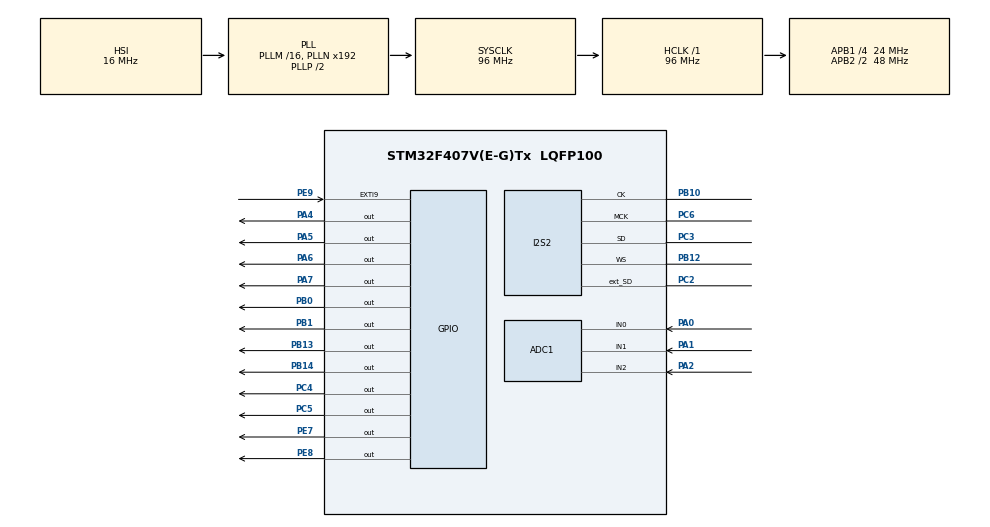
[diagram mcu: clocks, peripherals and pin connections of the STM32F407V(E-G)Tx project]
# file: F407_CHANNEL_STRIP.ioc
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ADC1.Channel-0\#ChannelRegularConversion=ADC_CHANNEL_0
ADC1.Channel-1\#ChannelRegularConversion=ADC_CHANNEL_1
ADC1.Channel-2\#ChannelRegularConversion=ADC_CHANNEL_2
ADC1.ContinuousConvMode=DISABLE
ADC1.DMAContinuousRequests=ENABLE
ADC1.EOCSelection=ADC_EOC_SEQ_CONV
ADC1.ExternalTrigConv=ADC_EXTERNALTRIGCONV_T2_TRGO
ADC1.NbrOfConversion=3
ADC1.NbrOfConversionFlag=1
ADC1.Rank-0\#ChannelRegularConversion=1
ADC1.Rank-1\#ChannelRegularConversion=2
ADC1.Rank-2\#ChannelRegularConversion=3
ADC1.SamplingTime-0\#ChannelRegularConversion=ADC_SAMPLETIME_144CYCLES
ADC1.SamplingTime-1\#ChannelRegularConversion=ADC_SAMPLETIME_144CYCLES
ADC1.SamplingTime-2\#ChannelRegularConversion=ADC_SAMPLETIME_144CYCLES
ADC1.ScanConvMode=ENABLE
ADC1.master=1
Dma.ADC1.2.Direction=DMA_PERIPH_TO_MEMORY
Dma.ADC1.2.FIFOMode=DMA_FIFOMODE_DISABLE
Dma.ADC1.2.Instance=DMA2_Stream0
Dma.ADC1.2.MemDataAlignment=DMA_MDATAALIGN_HALFWORD
Dma.ADC1.2.MemInc=DMA_MINC_ENABLE
Dma.ADC1.2.Mode=DMA_CIRCULAR
Dma.ADC1.2.PeriphDataAlignment=DMA_PDATAALIGN_HALFWORD
Dma.ADC1.2.PeriphInc=DMA_PINC_DISABLE
Dma.ADC1.2.Priority=DMA_PRIORITY_LOW
Dma.I2S2_EXT_TX.1.Direction=DMA_MEMORY_TO_PERIPH
Dma.I2S2_EXT_TX.1.FIFOMode=DMA_FIFOMODE_DISABLE
Dma.I2S2_EXT_TX.1.Instance=DMA1_Stream4
Dma.I2S2_EXT_TX.1.MemDataAlignment=DMA_MDATAALIGN_HALFWORD
Dma.I2S2_EXT_TX.1.MemInc=DMA_MINC_ENABLE
Dma.I2S2_EXT_TX.1.Mode=DMA_CIRCULAR
Dma.I2S2_EXT_TX.1.PeriphDataAlignment=DMA_PDATAALIGN_HALFWORD
Dma.I2S2_EXT_TX.1.PeriphInc=DMA_PINC_DISABLE
Dma.I2S2_EXT_TX.1.Priority=DMA_PRIORITY_LOW
Dma.Request0=SPI2_RX
Dma.Request1=I2S2_EXT_TX
Dma.Request2=ADC1
Dma.SPI2_RX.0.Direction=DMA_PERIPH_TO_MEMORY
Dma.SPI2_RX.0.FIFOMode=DMA_FIFOMODE_DISABLE
Dma.SPI2_RX.0.Instance=DMA1_Stream3
Dma.SPI2_RX.0.MemDataAlignment=DMA_MDATAALIGN_HALFWORD
Dma.SPI2_RX.0.MemInc=DMA_MINC_ENABLE
Dma.SPI2_RX.0.Mode=DMA_CIRCULAR
Dma.SPI2_RX.0.PeriphDataAlignment=DMA_PDATAALIGN_HALFWORD
Dma.SPI2_RX.0.PeriphInc=DMA_PINC_DISABLE
Dma.SPI2_RX.0.Priority=DMA_PRIORITY_LOW
I2S2.AudioFreq=I2S_AUDIOFREQ_96K
I2S2.DataFormat=I2S_DATAFORMAT_32B
I2S2.ErrorAudioFreq=-1.32 %
I2S2.FullDuplexMode=I2S_FULLDUPLEXMODE_ENABLE
I2S2.Instance=SPI$Index
I2S2.Mode=I2S_MODE_MASTER_RX
I2S2.RealAudioFreq=94.726 KHz
I2S2.VirtualMode=I2S_MODE_MASTER
Mcu.Family=STM32F4
Mcu.Name=STM32F407V(E-G)Tx
Mcu.Package=LQFP100
NVIC.ADC_IRQn=true\:1\:0\:true\:false\:true\:true\:true\:true
NVIC.DMA1_Stream3_IRQn=true\:0\:0\:false\:false\:true\:false\:true\:true
NVIC.DMA1_Stream4_IRQn=true\:0\:0\:false\:false\:true\:false\:true\:true
NVIC.DMA2_Stream0_IRQn=true\:0\:0\:false\:false\:true\:false\:true\:true
NVIC.EXTI9_5_IRQn=true\:2\:0\:true\:false\:true\:true\:true\:true
NVIC.PriorityGroup=NVIC_PRIORITYGROUP_4
PA0-WKUP.Signal=ADCx_IN0
PA1.Signal=ADCx_IN1
PA2.Signal=ADCx_IN2
PA4.Signal=GPIO_Output
PA5.Signal=GPIO_Output
PA6.Signal=GPIO_Output
PA7.Signal=GPIO_Output
PB0.Signal=GPIO_Output
PB1.Signal=GPIO_Output
PB10.Mode=Full_Duplex_Master
PB10.Signal=I2S2_CK
PB12.Mode=Full_Duplex_Master
PB12.Signal=I2S2_WS
PB13.Signal=GPIO_Output
PB14.Signal=GPIO_Output
PC2.Mode=Full_Duplex_Master
PC2.Signal=I2S2_ext_SD
PC3.Mode=Full_Duplex_Master
PC3.Signal=I2S2_SD
PC4.Signal=GPIO_Output
PC5.Signal=GPIO_Output
PC6.Mode=Master_Clock_Activated
PC6.Signal=I2S2_MCK
PE7.Signal=GPIO_Output
PE8.Signal=GPIO_Output
PE9.GPIO_ModeDefaultEXTI=GPIO_MODE_IT_FALLING
PE9.GPIO_PuPd=GPIO_PULLUP
PE9.Signal=GPXTI9
ProjectManager.HeapSize=0x200
ProjectManager.StackSize=0x400
ProjectManager.TargetToolchain=STM32CubeIDE
RCC.AHBFreq_Value=96000000
RCC.APB1CLKDivider=RCC_HCLK_DIV4
RCC.APB1Freq_Value=24000000
RCC.APB1TimFreq_Value=48000000
RCC.APB2CLKDivider=RCC_HCLK_DIV2
RCC.APB2Freq_Value=48000000
RCC.APB2TimFreq_Value=96000000
RCC.CortexFreq_Value=96000000
RCC.HCLKFreq_Value=96000000
RCC.HSE_VALUE=25000000
RCC.HSI_VALUE=16000000
RCC.LSE_VALUE=32768
RCC.PLLI2SN=194
RCC.SYSCLKFreq_VALUE=96000000
RCC.SYSCLKSource=RCC_SYSCLKSOURCE_PLLCLK
RCC.VCOOutputFreq_Value=192000000
SH.ADCx_IN0.0=ADC1_IN0,IN0
SH.ADCx_IN1.0=ADC1_IN1,IN1
SH.ADCx_IN2.0=ADC1_IN2,IN2
TIM2.Period=19
TIM2.Prescaler=8399
TIM2.TIM_MasterOutputTrigger=TIM_TRGO_UPDATE
VP_TIM2_VS_ClockSourceINT.Mode=Internal
board=custom

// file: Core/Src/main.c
/* USER CODE BEGIN Header */

/*
 * Real-time stereo audio processor for STM32F4 using PCM1808 and PCM5102
 *
 *
 * Features:
 * - Stereo pass-through
 * - Adjustable input gain
 * - Constant-power stereo panning
 * - Master output level
 * - Peak detection
 * - Dual-channel LED VU meter
 *
 * Audio is processed using DMA double buffering over I2S,
 * while analog controls are acquired through ADC + DMA.
 *
 * Processing chain:
 *   1. Convert I2S samples to floating point
 *   2. Apply pre-gain
 *   3. Peak detection
 *   4. Stereo panning
 *   5. Output gain
 *   6. RMS computation for VU meters
 *   7. Convert back to 24-bit samples
 */

/* USER CODE END Header */
#include "main.h"

/* USER CODE BEGIN Includes */
#include <math.h>
#include <stdbool.h>

#include "audioUtils.h"
/* USER CODE END Includes */

/* USER CODE BEGIN PD */
#define NUM_FRAMES 								256
#define I2S_BUFFER_LENGTH 						NUM_FRAMES * 2
#define HALF_I2S_BUFFER 						I2S_BUFFER_LENGTH / 2
#define AUX_BUFFER_LENGTH						HALF_I2S_BUFFER / 2

#define NORMALIZED_32_BIT						((1LL << 31) - 1)
#define NORMALIZED_24_BIT						((1LL << 23) - 1)

#define NUM_ADC_SENSORS							3

#define DEFAULT_PRE_GAIN						1.0f
#define DEFAULT_PAN								0.5f
#define DEFAULT_LVL_OUT							1.0f

#define CLIPPING_THRESHOLD						0.95f

#define DEBOUNCE_TIME							20

#define ALPHA_PARAMS							0.8f
#define ALPHA_RMS								0.7f
#define QUANTIZE_DEGREE							0.01f

#define PAN_TOLERANCE							0.1f
#define PAN_DEADZONE_WIDTH						0.05f

#define SLIDER_TOLERANCE						0.05f
/* USER CODE END PD */

ADC_HandleTypeDef hadc1;
DMA_HandleTypeDef hdma_adc1;

I2S_HandleTypeDef hi2s2;
DMA_HandleTypeDef hdma_spi2_rx;
DMA_HandleTypeDef hdma_i2s2_ext_tx;

TIM_HandleTypeDef htim2;

/* USER CODE BEGIN PV */
int32_t rxBuffer[NUM_FRAMES * 2];
int32_t txBuffer[NUM_FRAMES * 2];

float leftBuffer[AUX_BUFFER_LENGTH];
float rightBuffer[AUX_BUFFER_LENGTH];

volatile uint8_t halfReady = 0;
volatile uint8_t fullReady = 0;

uint16_t adc_buffer[NUM_ADC_SENSORS];

bool muted = false;
float preGain = DEFAULT_PRE_GAIN;
float pan = DEFAULT_PAN;
float lvlOut = DEFAULT_LVL_OUT;

float rmsLeft = 0.0f;
float rmsRight = 0.0f;

uint32_t lastPress = 0;

/* USER CODE END PV */

void SystemClock_Config(void);
static void MX_GPIO_Init(void);
static void MX_DMA_Init(void);
static void MX_I2S2_Init(void);
static void MX_ADC1_Init(void);
static void MX_TIM2_Init(void);
/* USER CODE BEGIN PFP */
void processBlock(int32_t *in, int32_t *out);

void update_leds(float rms, uint8_t channel);
/* USER CODE END PFP */

/* USER CODE BEGIN 0 */
void HAL_I2SEx_TxRxHalfCpltCallback(I2S_HandleTypeDef *hi2s)
{
	//Signal that the first half of the DMA buffer is ready.
	halfReady = 1;
}

void HAL_I2SEx_TxRxCpltCallback(I2S_HandleTypeDef *hi2s)
{
	//Signal that the second half of the DMA buffer is ready.
	fullReady = 1;
}

void HAL_ADC_ConvCpltCallback(ADC_HandleTypeDef* hadc)
{
	//ADC1
    if(hadc->Instance == ADC1)
    {
    	//ADC READING: filtered and quantized ADC readings to reduce the ADC noise
    	preGain = quantize(ALPHA_PARAMS * (adc_buffer[0]/4095.0f)+ (1.0f - ALPHA_PARAMS) * preGain, QUANTIZE_DEGREE);
    	pan = quantize(ALPHA_PARAMS * (adc_buffer[1]/4095.0f)+ (1.0f - ALPHA_PARAMS) * pan, QUANTIZE_DEGREE);
    	lvlOut = quantize(ALPHA_PARAMS * (adc_buffer[2]/4095.0f)+ (1.0f - ALPHA_PARAMS) * lvlOut, QUANTIZE_DEGREE);

    	//PAN ROUNDING: snap the control to the extremes to compensate for potentiometer tolerances
    	if (pan > 1.0f - PAN_TOLERANCE)
    	    pan = 1.0f;

    	if (pan < PAN_TOLERANCE)
    	    pan = 0.0f;

    	//DEADZONE: a deadzone around the center position of the potentiometer so that small ADC fluctuations won't affect the stereo balance
    	if (fabsf(pan - 0.5f) < PAN_DEADZONE_WIDTH)
    	{
    	    pan = 0.5f;
    	}

    	//LEVEL OUT ROUNDING: force very small output levels to zero to guarantee silence
    	if (lvlOut < SLIDER_TOLERANCE)
		{
    		lvlOut = 0.0f;
		}
    }
}

void update_leds(float rms, uint8_t channel)
{
	/*
	 * Drive the LED VU meter using logarithmic thresholds
	 * expressed in dBFS.
	 */

	if(channel == 0)
	{
		HAL_GPIO_WritePin(GPIOA, GPIO_PIN_4, (rms > -48) 	? GPIO_PIN_SET : GPIO_PIN_RESET);
		HAL_GPIO_WritePin(GPIOA, GPIO_PIN_5, (rms > -24) 	? GPIO_PIN_SET : GPIO_PIN_RESET);
		HAL_GPIO_WritePin(GPIOA, GPIO_PIN_6, (rms > -12)	? GPIO_PIN_SET : GPIO_PIN_RESET);
		HAL_GPIO_WritePin(GPIOA, GPIO_PIN_7, (rms > -6) 	? GPIO_PIN_SET : GPIO_PIN_RESET);
		HAL_GPIO_WritePin(GPIOC, GPIO_PIN_4, (rms > -3)		? GPIO_PIN_SET : GPIO_PIN_RESET);
	}

	else if(channel == 1)
	{
		HAL_GPIO_WritePin(GPIOC, GPIO_PIN_5, (rms > -48) 	? GPIO_PIN_SET : GPIO_PIN_RESET);
		HAL_GPIO_WritePin(GPIOB, GPIO_PIN_0, (rms > -24) 	? GPIO_PIN_SET : GPIO_PIN_RESET);
		HAL_GPIO_WritePin(GPIOB, GPIO_PIN_1, (rms > -12) 	? GPIO_PIN_SET : GPIO_PIN_RESET);
		HAL_GPIO_WritePin(GPIOE, GPIO_PIN_7, (rms > -6) 	? GPIO_PIN_SET : GPIO_PIN_RESET);
		HAL_GPIO_WritePin(GPIOE, GPIO_PIN_8, (rms > -3) 	? GPIO_PIN_SET : GPIO_PIN_RESET);
	}
}

void processBlock(int32_t *in, int32_t *out)
{

	// I2S buffer reading, converting 24 bit I2S samples to normalized floating point values, applying the pre-gain and mute/unmute
	for(size_t i = 0; i < HALF_I2S_BUFFER; i+=2)
	{
		float leftSample = (float)(swap_half_word(in[i]) >> 8) / NORMALIZED_24_BIT;
		float rightSample = (float)(swap_half_word(in[i + 1]) >> 8) / NORMALIZED_24_BIT;

		leftBuffer[i / 2] = leftSample * preGain * (muted ? 0.0f : 1.0f);;
		rightBuffer[i / 2] = rightSample * preGain * (muted ? 0.0f : 1.0f);;
	}

	//Peak detection for clipping indication; the LED turns on when the signal exceeds the clipping threshold

	/*
	 * Peak detection is intentionally performed immediately after the
	 * pre-gain stage. This allows the clip LEDs to indicate overload
	 * caused by the input gain, independently of the pan and master
	 * output controls.
	 */

	if(peakDetect(leftBuffer, AUX_BUFFER_LENGTH) > CLIPPING_THRESHOLD)
		HAL_GPIO_WritePin(GPIOB, GPIO_PIN_13, GPIO_PIN_SET);
	else
		HAL_GPIO_WritePin(GPIOB, GPIO_PIN_13, GPIO_PIN_RESET);

	if(peakDetect(rightBuffer, AUX_BUFFER_LENGTH) > CLIPPING_THRESHOLD)
		HAL_GPIO_WritePin(GPIOB, GPIO_PIN_14, GPIO_PIN_SET);
	else
		HAL_GPIO_WritePin(GPIOB, GPIO_PIN_14, GPIO_PIN_RESET);

	//Application of constant-power stereo panning; sqrt() coefficients maintain approximately constant the perceived loudness
	float panLeft = sqrtf(1 - pan);
	float panRight = sqrtf(pan);
	applyGain(leftBuffer, AUX_BUFFER_LENGTH, panLeft);
	applyGain(rightBuffer, AUX_BUFFER_LENGTH, panRight);

	//Application of the master out level
	applyGain(leftBuffer, AUX_BUFFER_LENGTH, lvlOut);
	applyGain(rightBuffer, AUX_BUFFER_LENGTH, lvlOut);

	//Computation of an exponentially smoothed RMS level
	rmsLeft = ALPHA_RMS * rmsDetection(leftBuffer, AUX_BUFFER_LENGTH) + (1.0f -ALPHA_RMS) * rmsLeft;
	rmsRight = ALPHA_RMS * rmsDetection(rightBuffer, AUX_BUFFER_LENGTH)+ (1.0f -ALPHA_RMS) * rmsRight;

	float dbLeft = 20.0f * log10f(rmsLeft + 1e-6f);
	float dbRight = 20.0f * log10f(rmsRight + 1e-6f);
	/*
	 *  dB / linear conversion (audio amplitude domain):
	 *
	 *      dB = 20 * log10(A / A_ref)
	 *      A  = 10^(dB / 20)
	 *
	 *  where A_ref = 1.0 (full-scale normalized signal)
	 *
	 *  In this implementation:
	 *  - A is assumed to be a normalized amplitude in [0.0, 1.0]
	 *  - A_ref = 1.0, so: dB = 20 * log10(A)
	 *
	 *  The +1e-6f term avoids log10(0):
	 *      log10(0) is undefined (-infinity), which would break the VU computation
	 *      and propagate NaN/Inf through filtering stages.
	 */

	//Vu Meter
	update_leds(dbLeft, 0);
	update_leds(dbRight, 1);

	//Conversion of normalized floating point samples to 24 bit format and I2S transmit buffer writing
	for(size_t i = 0; i < HALF_I2S_BUFFER; i += 2)
	{
		out[i] = swap_half_word((int32_t)(leftBuffer[i / 2] * NORMALIZED_24_BIT) << 8);
		out[i + 1] = swap_half_word((int32_t)(rightBuffer[i / 2] * NORMALIZED_24_BIT) << 8);

	}
}

void HAL_GPIO_EXTI_Callback(uint16_t GPIO_Pin)
{
	uint32_t now = HAL_GetTick();
	if(now - lastPress >= DEBOUNCE_TIME)
	{
		//Toggle mute state after debounce interval.
		muted = !muted;
		lastPress = now;
	}
}
/* USER CODE END 0 */

int main(void)
{

  /* MCU Configuration--------------------------------------------------------*/

  /* Reset of all peripherals, Initializes the Flash interface and the Systick. */
  HAL_Init();

  /* Configure the system clock */
  SystemClock_Config();

  /* Initialize all configured peripherals */
  MX_GPIO_Init();
  MX_DMA_Init();
  MX_I2S2_Init();
  MX_ADC1_Init();
  MX_TIM2_Init();
  /* USER CODE BEGIN 2 */
  HAL_I2SEx_TransmitReceive_DMA(&hi2s2, (uint16_t*)txBuffer, (uint16_t*)rxBuffer, NUM_FRAMES  * 2);

  HAL_TIM_Base_Start(&htim2);

  HAL_StatusTypeDef st = HAL_ADC_Start_DMA(&hadc1, (uint32_t*)adc_buffer, NUM_ADC_SENSORS);

  if(st != HAL_OK)
	  Error_Handler();
  /* USER CODE END 2 */

  /* Infinite loop */
  while (1)
  {

    /* USER CODE BEGIN 3 */

  /*
   * Audio processing runs using DMA double buffering.
   * The callbacks only set synchronization flags,
   * while all DSP processing is executed in the main loop.
   */

	if(halfReady)
	{
		processBlock(&rxBuffer[0], &txBuffer[0]);
		halfReady = 0;
	}

	if(fullReady)
	{
		processBlock(&rxBuffer[HALF_I2S_BUFFER], &txBuffer[HALF_I2S_BUFFER]);
		fullReady = 0;
	}
  }
  /* USER CODE END 3 */
}

void SystemClock_Config(void)
{
  RCC_OscInitTypeDef RCC_OscInitStruct = {0};
  RCC_ClkInitTypeDef RCC_ClkInitStruct = {0};

  /** Configure the main internal regulator output voltage
  */
  __HAL_RCC_PWR_CLK_ENABLE();
  __HAL_PWR_VOLTAGESCALING_CONFIG(PWR_REGULATOR_VOLTAGE_SCALE1);

  /** Initializes the RCC Oscillators according to the specified parameters
  * in the RCC_OscInitTypeDef structure.
  */
  RCC_OscInitStruct.OscillatorType = RCC_OSCILLATORTYPE_HSI;
  RCC_OscInitStruct.HSIState = RCC_HSI_ON;
  RCC_OscInitStruct.HSICalibrationValue = RCC_HSICALIBRATION_DEFAULT;
  RCC_OscInitStruct.PLL.PLLState = RCC_PLL_ON;
  RCC_OscInitStruct.PLL.PLLSource = RCC_PLLSOURCE_HSI;
  RCC_OscInitStruct.PLL.PLLM = 16;
  RCC_OscInitStruct.PLL.PLLN = 192;
  RCC_OscInitStruct.PLL.PLLP = RCC_PLLP_DIV2;
  RCC_OscInitStruct.PLL.PLLQ = 4;
  if (HAL_RCC_OscConfig(&RCC_OscInitStruct) != HAL_OK)
  {
    Error_Handler();
  }

  /** Initializes the CPU, AHB and APB buses clocks
  */
  RCC_ClkInitStruct.ClockType = RCC_CLOCKTYPE_HCLK|RCC_CLOCKTYPE_SYSCLK
                              |RCC_CLOCKTYPE_PCLK1|RCC_CLOCKTYPE_PCLK2;
  RCC_ClkInitStruct.SYSCLKSource = RCC_SYSCLKSOURCE_PLLCLK;
  RCC_ClkInitStruct.AHBCLKDivider = RCC_SYSCLK_DIV1;
  RCC_ClkInitStruct.APB1CLKDivider = RCC_HCLK_DIV4;
  RCC_ClkInitStruct.APB2CLKDivider = RCC_HCLK_DIV2;

  if (HAL_RCC_ClockConfig(&RCC_ClkInitStruct, FLASH_LATENCY_3) != HAL_OK)
  {
    Error_Handler();
  }
}

static void MX_ADC1_Init(void)
{

  ADC_ChannelConfTypeDef sConfig = {0};

  /** Configure the global features of the ADC (Clock, Resolution, Data Alignment and number of conversion)
  */
  hadc1.Instance = ADC1;
  hadc1.Init.ClockPrescaler = ADC_CLOCK_SYNC_PCLK_DIV2;
  hadc1.Init.Resolution = ADC_RESOLUTION_12B;
  hadc1.Init.ScanConvMode = ENABLE;
  hadc1.Init.ContinuousConvMode = DISABLE;
  hadc1.Init.DiscontinuousConvMode = DISABLE;
  hadc1.Init.ExternalTrigConvEdge = ADC_EXTERNALTRIGCONVEDGE_RISING;
  hadc1.Init.ExternalTrigConv = ADC_EXTERNALTRIGCONV_T2_TRGO;
  hadc1.Init.DataAlign = ADC_DATAALIGN_RIGHT;
  hadc1.Init.NbrOfConversion = 3;
  hadc1.Init.DMAContinuousRequests = ENABLE;
  hadc1.Init.EOCSelection = ADC_EOC_SEQ_CONV;
  if (HAL_ADC_Init(&hadc1) != HAL_OK)
  {
    Error_Handler();
  }

  /** Configure for the selected ADC regular channel its corresponding rank in the sequencer and its sample time.
  */
  sConfig.Channel = ADC_CHANNEL_0;
  sConfig.Rank = 1;
  sConfig.SamplingTime = ADC_SAMPLETIME_144CYCLES;
  if (HAL_ADC_ConfigChannel(&hadc1, &sConfig) != HAL_OK)
  {
    Error_Handler();
  }

  /** Configure for the selected ADC regular channel its corresponding rank in the sequencer and its sample time.
  */
  sConfig.Channel = ADC_CHANNEL_1;
  sConfig.Rank = 2;
  if (HAL_ADC_ConfigChannel(&hadc1, &sConfig) != HAL_OK)
  {
    Error_Handler();
  }

  /** Configure for the selected ADC regular channel its corresponding rank in the sequencer and its sample time.
  */
  sConfig.Channel = ADC_CHANNEL_2;
  sConfig.Rank = 3;
  if (HAL_ADC_ConfigChannel(&hadc1, &sConfig) != HAL_OK)
  {
    Error_Handler();
  }

}

static void MX_I2S2_Init(void)
{

  hi2s2.Instance = SPI2;
  hi2s2.Init.Mode = I2S_MODE_MASTER_RX;
  hi2s2.Init.Standard = I2S_STANDARD_PHILIPS;
  hi2s2.Init.DataFormat = I2S_DATAFORMAT_32B;
  hi2s2.Init.MCLKOutput = I2S_MCLKOUTPUT_ENABLE;
  hi2s2.Init.AudioFreq = I2S_AUDIOFREQ_96K;
  hi2s2.Init.CPOL = I2S_CPOL_LOW;
  hi2s2.Init.ClockSource = I2S_CLOCK_PLL;
  hi2s2.Init.FullDuplexMode = I2S_FULLDUPLEXMODE_ENABLE;
  if (HAL_I2S_Init(&hi2s2) != HAL_OK)
  {
    Error_Handler();
  }

}

static void MX_TIM2_Init(void)
{

  TIM_ClockConfigTypeDef sClockSourceConfig = {0};
  TIM_MasterConfigTypeDef sMasterConfig = {0};

  htim2.Instance = TIM2;
  htim2.Init.Prescaler = 8399;
  htim2.Init.CounterMode = TIM_COUNTERMODE_UP;
  htim2.Init.Period = 19;
  htim2.Init.ClockDivision = TIM_CLOCKDIVISION_DIV1;
  htim2.Init.AutoReloadPreload = TIM_AUTORELOAD_PRELOAD_DISABLE;
  if (HAL_TIM_Base_Init(&htim2) != HAL_OK)
  {
    Error_Handler();
  }
  sClockSourceConfig.ClockSource = TIM_CLOCKSOURCE_INTERNAL;
  if (HAL_TIM_ConfigClockSource(&htim2, &sClockSourceConfig) != HAL_OK)
  {
    Error_Handler();
  }
  sMasterConfig.MasterOutputTrigger = TIM_TRGO_UPDATE;
  sMasterConfig.MasterSlaveMode = TIM_MASTERSLAVEMODE_DISABLE;
  if (HAL_TIMEx_MasterConfigSynchronization(&htim2, &sMasterConfig) != HAL_OK)
  {
    Error_Handler();
  }

}

static void MX_DMA_Init(void)
{

  /* DMA controller clock enable */
  __HAL_RCC_DMA1_CLK_ENABLE();
  __HAL_RCC_DMA2_CLK_ENABLE();

  /* DMA interrupt init */
  /* DMA1_Stream3_IRQn interrupt configuration */
  HAL_NVIC_SetPriority(DMA1_Stream3_IRQn, 0, 0);
  HAL_NVIC_EnableIRQ(DMA1_Stream3_IRQn);
  /* DMA1_Stream4_IRQn interrupt configuration */
  HAL_NVIC_SetPriority(DMA1_Stream4_IRQn, 0, 0);
  HAL_NVIC_EnableIRQ(DMA1_Stream4_IRQn);
  /* DMA2_Stream0_IRQn interrupt configuration */
  HAL_NVIC_SetPriority(DMA2_Stream0_IRQn, 0, 0);
  HAL_NVIC_EnableIRQ(DMA2_Stream0_IRQn);

}

static void MX_GPIO_Init(void)
{
  GPIO_InitTypeDef GPIO_InitStruct = {0};

  /* GPIO Ports Clock Enable */
  __HAL_RCC_GPIOC_CLK_ENABLE();
  __HAL_RCC_GPIOA_CLK_ENABLE();
  __HAL_RCC_GPIOB_CLK_ENABLE();
  __HAL_RCC_GPIOE_CLK_ENABLE();

  /*Configure GPIO pin Output Level */
  HAL_GPIO_WritePin(GPIOA, GPIO_PIN_4|GPIO_PIN_5|GPIO_PIN_6|GPIO_PIN_7, GPIO_PIN_RESET);

  /*Configure GPIO pin Output Level */
  HAL_GPIO_WritePin(GPIOC, GPIO_PIN_4|GPIO_PIN_5, GPIO_PIN_RESET);

  /*Configure GPIO pin Output Level */
  HAL_GPIO_WritePin(GPIOB, GPIO_PIN_0|GPIO_PIN_1|GPIO_PIN_13|GPIO_PIN_14, GPIO_PIN_RESET);

  /*Configure GPIO pin Output Level */
  HAL_GPIO_WritePin(GPIOE, GPIO_PIN_7|GPIO_PIN_8, GPIO_PIN_RESET);

  /*Configure GPIO pins : PA4 PA5 PA6 PA7 */
  GPIO_InitStruct.Pin = GPIO_PIN_4|GPIO_PIN_5|GPIO_PIN_6|GPIO_PIN_7;
  GPIO_InitStruct.Mode = GPIO_MODE_OUTPUT_PP;
  GPIO_InitStruct.Pull = GPIO_NOPULL;
  GPIO_InitStruct.Speed = GPIO_SPEED_FREQ_LOW;
  HAL_GPIO_Init(GPIOA, &GPIO_InitStruct);

  /*Configure GPIO pins : PC4 PC5 */
  GPIO_InitStruct.Pin = GPIO_PIN_4|GPIO_PIN_5;
  GPIO_InitStruct.Mode = GPIO_MODE_OUTPUT_PP;
  GPIO_InitStruct.Pull = GPIO_NOPULL;
  GPIO_InitStruct.Speed = GPIO_SPEED_FREQ_LOW;
  HAL_GPIO_Init(GPIOC, &GPIO_InitStruct);

  /*Configure GPIO pins : PB0 PB1 PB13 PB14 */
  GPIO_InitStruct.Pin = GPIO_PIN_0|GPIO_PIN_1|GPIO_PIN_13|GPIO_PIN_14;
  GPIO_InitStruct.Mode = GPIO_MODE_OUTPUT_PP;
  GPIO_InitStruct.Pull = GPIO_NOPULL;
  GPIO_InitStruct.Speed = GPIO_SPEED_FREQ_LOW;
  HAL_GPIO_Init(GPIOB, &GPIO_InitStruct);

  /*Configure GPIO pins : PE7 PE8 */
  GPIO_InitStruct.Pin = GPIO_PIN_7|GPIO_PIN_8;
  GPIO_InitStruct.Mode = GPIO_MODE_OUTPUT_PP;
  GPIO_InitStruct.Pull = GPIO_NOPULL;
  GPIO_InitStruct.Speed = GPIO_SPEED_FREQ_LOW;
  HAL_GPIO_Init(GPIOE, &GPIO_InitStruct);

  /*Configure GPIO pin : PE9 */
  GPIO_InitStruct.Pin = GPIO_PIN_9;
  GPIO_InitStruct.Mode = GPIO_MODE_IT_FALLING;
  GPIO_InitStruct.Pull = GPIO_PULLUP;
  HAL_GPIO_Init(GPIOE, &GPIO_InitStruct);

  /* EXTI interrupt init*/
  HAL_NVIC_SetPriority(EXTI9_5_IRQn, 2, 0);
  HAL_NVIC_EnableIRQ(EXTI9_5_IRQn);

}

void Error_Handler(void)
{
  __disable_irq();
  while (1)
  {
  }
}
